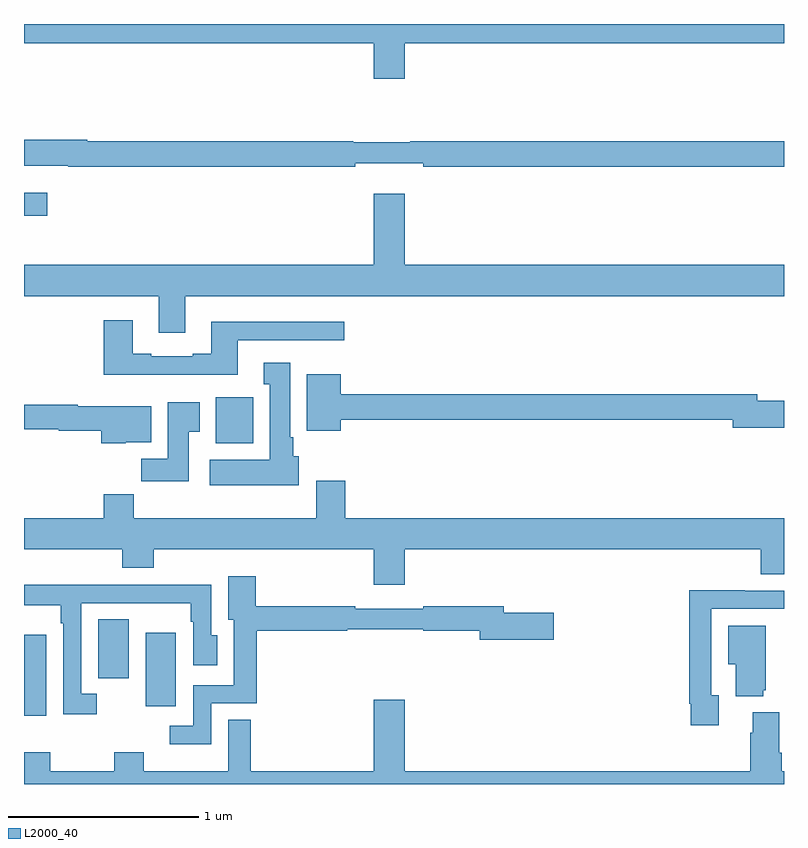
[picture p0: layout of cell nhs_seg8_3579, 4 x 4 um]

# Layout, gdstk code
import gdstk
lib = gdstk.Library(unit=1e-6, precision=1e-09)
def R(c, l, rs):  # rectangles x0, y0, x1, y1
    for r in rs: c.add(gdstk.rectangle(r[:2], r[2:], *l))
def P(c, l, *ps):  # polygons
    for p in ps: c.add(gdstk.Polygon(p, *l))
L2000_40 = (2000, 40)

nhs_seg8_3579 = lib.new_cell('nhs_seg8_3579')
R(nhs_seg8_3579, L2000_40, [(331,1146.258,331.117,1146.685), (331.64,1146.308,331.798,1146.697), (331.391,1146.456,331.552,1146.767), (332.009,1147.694,332.206,1147.936), (331,1148.891,331.123,1149.013)])
P(nhs_seg8_3579, L2000_40, [(333.004,1149.8),(335,1149.8),(335,1149.9),(331,1149.9),(331,1149.8),(332.84,1149.8),(332.84,1149.612),(333.004,1149.612)],
  [(332.744,1149.167),(333.1,1149.167),(333.1,1149.148),(335,1149.148),(335,1149.284),(333.032,1149.284),(333.032,1149.277),(332.732,1149.277),(332.732,1149.284),(331.332,1149.284),(331.332,1149.29),(331,1149.29),(331,1149.155),(331.232,1149.155),(331.232,1149.148),(332.744,1149.148)],
  [(331.849,1148.468),(335,1148.468),(335,1148.632),(333.004,1148.632),(333.004,1149.007),(332.84,1149.007),(332.84,1148.632),(331,1148.632),(331,1148.468),(331.709,1148.468),(331.709,1148.274),(331.849,1148.274)],
  [(332.125,1148.235),(332.686,1148.235),(332.686,1148.332),(331.985,1148.332),(331.985,1148.164),(331.889,1148.164),(331.889,1148.151),(331.669,1148.151),(331.669,1148.164),(331.573,1148.164),(331.573,1148.341),(331.421,1148.341),(331.421,1148.054),(332.125,1148.054)],
  [(332.446,1147.626),(332.416,1147.626),(332.416,1147.726),(332.401,1147.726),(332.401,1148.116),(332.261,1148.116),(332.261,1148.003),(332.294,1148.003),(332.294,1147.606),(331.977,1147.606),(331.977,1147.472),(332.446,1147.472)],
  [(332.668,1147.816),(334.73,1147.816),(334.73,1147.774),(335,1147.774),(335,1147.916),(334.858,1147.916),(334.858,1147.952),(332.668,1147.952),(332.668,1148.056),(332.489,1148.056),(332.489,1147.76),(332.668,1147.76)],
  [(331.867,1147.753),(331.924,1147.753),(331.924,1147.909),(331.757,1147.909),(331.757,1147.612),(331.618,1147.612),(331.618,1147.494),(331.867,1147.494)],
  [(331.536,1147.7),(331.669,1147.7),(331.669,1147.888),(331.282,1147.888),(331.282,1147.895),(331,1147.895),(331,1147.767),(331.182,1147.767),(331.182,1147.759),(331.406,1147.759),(331.406,1147.694),(331.536,1147.694)],
  [(333.004,1147.136),(334.877,1147.136),(334.877,1147.003),(335,1147.003),(335,1147.3),(332.69,1147.3),(332.69,1147.495),(332.537,1147.495),(332.537,1147.3),(331.577,1147.3),(331.577,1147.424),(331.421,1147.424),(331.421,1147.3),(331,1147.3),(331,1147.136),(331.517,1147.136),(331.517,1147.037),(331.682,1147.037),(331.682,1147.136),(332.84,1147.136),(332.84,1146.948),(333.004,1146.948)],
  [(331.986,1146.324),(332.224,1146.324),(332.224,1146.706),(332.702,1146.706),(332.702,1146.714),(333.102,1146.714),(333.102,1146.706),(333.398,1146.706),(333.398,1146.659),(333.787,1146.659),(333.787,1146.801),(333.526,1146.801),(333.526,1146.835),(333.1,1146.835),(333.1,1146.822),(332.744,1146.822),(332.744,1146.835),(332.219,1146.835),(332.219,1146.994),(332.075,1146.994),(332.075,1146.765),(332.105,1146.765),(332.105,1146.42),(331.89,1146.42),(331.89,1146.207),(331.767,1146.207),(331.767,1146.11),(331.986,1146.11)],
  [(331.384,1146.375),(331.302,1146.375),(331.302,1146.852),(331.648,1146.852),(331.648,1146.851),(331.878,1146.851),(331.878,1146.755),(331.89,1146.755),(331.89,1146.525),(332.017,1146.525),(332.017,1146.684),(331.986,1146.684),(331.986,1146.95),(331.765,1146.95),(331.765,1146.948),(331.399,1146.948),(331.399,1146.95),(331,1146.95),(331,1146.842),(331.194,1146.842),(331.194,1146.746),(331.206,1146.746),(331.206,1146.267),(331.384,1146.267)],
  [(334.657,1146.366),(334.617,1146.366),(334.617,1146.822),(335,1146.822),(335,1146.918),(334.793,1146.918),(334.793,1146.92),(334.501,1146.92),(334.501,1146.322),(334.509,1146.322),(334.509,1146.21),(334.657,1146.21)],
  [(334.892,1146.393),(334.903,1146.393),(334.903,1146.733),(334.706,1146.733),(334.706,1146.53),(334.745,1146.53),(334.745,1146.362),(334.892,1146.362)],
  [(335,1145.968),(334.988,1145.968),(334.988,1146.064),(334.975,1146.064),(334.975,1146.277),(334.835,1146.277),(334.835,1146.17),(334.823,1146.17),(334.823,1145.968),(333.004,1145.968),(333.004,1146.343),(332.84,1146.343),(332.84,1145.968),(332.194,1145.968),(332.194,1146.239),(332.075,1146.239),(332.075,1145.968),(331.629,1145.968),(331.629,1146.067),(331.474,1146.067),(331.474,1145.968),(331.137,1145.968),(331.137,1146.067),(331,1146.067),(331,1145.9),(335,1145.9)])

lib.write_gds('nhs_seg8_3579.gds')
